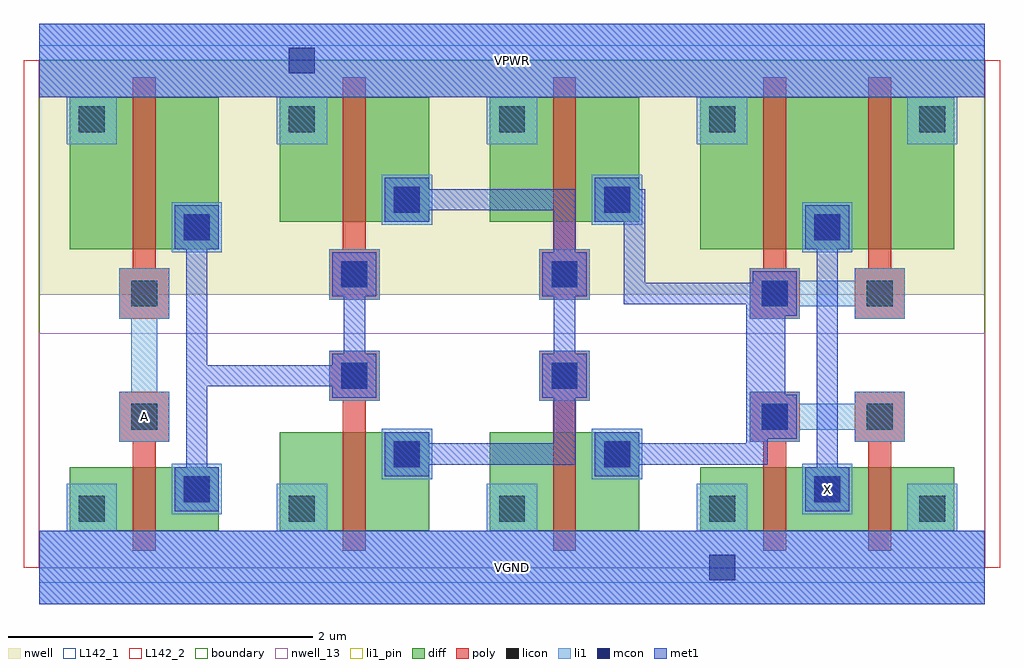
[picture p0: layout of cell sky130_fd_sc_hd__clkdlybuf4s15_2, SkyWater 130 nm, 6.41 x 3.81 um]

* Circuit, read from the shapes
.subckt sky130_fd_sc_hd__clkdlybuf4s15_2 A VGND VPWR X
XM1 n1 A VGND VSUBS sky130_fd_pr__nfet_01v8 w=0.42 l=0.15
XM2 n2 n1 VGND VSUBS sky130_fd_pr__nfet_01v8 w=0.65 l=0.15
XM3 n3 n2 VGND VSUBS sky130_fd_pr__nfet_01v8 w=0.65 l=0.15
XM4 X n3 VGND VSUBS sky130_fd_pr__nfet_01v8 w=0.42 l=0.15 m=2
XM5 n1 A VPWR n4 sky130_fd_pr__pfet_01v8 w=1 l=0.15
XM6 n2 n1 VPWR n4 sky130_fd_pr__pfet_01v8 w=0.82 l=0.15
XM7 n3 n2 VPWR n4 sky130_fd_pr__pfet_01v8 w=0.82 l=0.15
XM8 X n3 VPWR n4 sky130_fd_pr__pfet_01v8 w=1 l=0.15 m=2
.ends

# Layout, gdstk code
import gdstk
lib = gdstk.Library(unit=1e-6, precision=1e-09)
def R(c, l, rs):  # rectangles x0, y0, x1, y1
    for r in rs: c.add(gdstk.rectangle(r[:2], r[2:], *l))
def A(c, l, x, y, w, h, nx, ny, dx, dy):  # array of equal rectangles
    R(c, l, [(x+i*dx, y+j*dy, x+i*dx+w, y+j*dy+h) for i in range(nx) for j in range(ny)])
def P(c, l, *ps):  # polygons
    for p in ps: c.add(gdstk.Polygon(p, *l))
nwell_13 = (64, 13)
nwell = (64, 20)
diff = (65, 20)
poly = (66, 20)
licon = (66, 44)
li1_pin = (67, 16)
li1 = (67, 20)
mcon = (67, 44)
met1 = (68, 20)
L142_1 = (142, 1)
L142_2 = (142, 2)
boundary = (235, 4)

sky130_fd_sc_hd__clkdlyb = lib.new_cell('sky130_fd_sc_hd__clkdlybuf4s15_2')
R(sky130_fd_sc_hd__clkdlyb, nwell_13, [(0,0,6.21,1.54)])
R(sky130_fd_sc_hd__clkdlyb, nwell, [(0,1.79,6.21,3.33)])
R(sky130_fd_sc_hd__clkdlyb, diff, [(0.2,0.24,1.18,0.66), (0.2,0.24,0.615,0.66), (0.615,0.24,1.18,0.66), (1.58,0.24,2.56,0.89), (1.58,0.24,1.995,0.89), (1.995,0.24,2.56,0.89), (2.96,0.24,3.94,0.89), (2.96,0.24,3.375,0.89), (3.375,0.24,3.94,0.89), (4.34,0.24,6.01,0.66), (4.34,0.24,4.755,0.66), (4.755,0.24,5.445,0.66), (5.445,0.24,6.01,0.66), (0.2,2.09,1.18,3.09), (0.2,2.09,0.615,3.09), (0.615,2.09,1.18,3.09), (4.34,2.09,6.01,3.09), (4.34,2.09,4.755,3.09), (4.755,2.09,5.445,3.09), (5.445,2.09,6.01,3.09), (1.58,2.27,2.56,3.09), (1.58,2.27,1.995,3.09), (1.995,2.27,2.56,3.09), (2.96,2.27,3.94,3.09), (2.96,2.27,3.375,3.09), (3.375,2.27,3.94,3.09)])
P(sky130_fd_sc_hd__clkdlyb, poly, [(3.375,0.11),(3.375,1.095),(3.285,1.095),(3.285,1.425),(3.615,1.425),(3.615,1.095),(3.525,1.095),(3.525,0.11)],
  [(3.285,1.76),(3.285,2.09),(3.375,2.09),(3.375,3.22),(3.525,3.22),(3.525,2.09),(3.615,2.09),(3.615,1.76)],
  [(0.615,0.11),(0.615,0.825),(0.525,0.825),(0.525,1.155),(0.855,1.155),(0.855,0.825),(0.765,0.825),(0.765,0.11)],
  [(0.525,1.635),(0.525,1.965),(0.615,1.965),(0.615,3.22),(0.765,3.22),(0.765,1.965),(0.855,1.965),(0.855,1.635)],
  [(1.995,0.11),(1.995,1.095),(1.905,1.095),(1.905,1.425),(2.235,1.425),(2.235,1.095),(2.145,1.095),(2.145,0.11)],
  [(1.905,1.76),(1.905,2.09),(1.995,2.09),(1.995,3.22),(2.145,3.22),(2.145,2.09),(2.235,2.09),(2.235,1.76)],
  [(4.755,0.11),(4.755,0.825),(4.665,0.825),(4.665,1.155),(4.995,1.155),(4.995,0.825),(4.905,0.825),(4.905,0.11)],
  [(5.445,0.11),(5.445,0.825),(5.355,0.825),(5.355,1.155),(5.685,1.155),(5.685,0.825),(5.595,0.825),(5.595,0.11)],
  [(4.665,1.635),(4.665,1.965),(4.755,1.965),(4.755,3.22),(4.905,3.22),(4.905,1.965),(4.995,1.965),(4.995,1.635)],
  [(5.355,1.635),(5.355,1.965),(5.445,1.965),(5.445,3.22),(5.595,3.22),(5.595,1.965),(5.685,1.965),(5.685,1.635)])
A(sky130_fd_sc_hd__clkdlyb, licon, 0.26, 0.3, 0.17, 0.17, 5, 2, 1.38, 2.56)
R(sky130_fd_sc_hd__clkdlyb, licon, [(0.95,0.43,1.12,0.6), (5.09,0.43,5.26,0.6), (2.33,0.66,2.5,0.83), (3.71,0.66,3.88,0.83), (0.605,0.905,0.775,1.075), (4.745,0.905,4.915,1.075), (5.435,0.905,5.605,1.075), (1.985,1.175,2.155,1.345), (3.365,1.175,3.535,1.345), (0.605,1.715,0.775,1.885), (4.745,1.715,4.915,1.885), (5.435,1.715,5.605,1.885), (1.985,1.84,2.155,2.01), (3.365,1.84,3.535,2.01), (0.95,2.15,1.12,2.32), (5.09,2.15,5.26,2.32), (2.33,2.33,2.5,2.5), (3.71,2.33,3.88,2.5)])
R(sky130_fd_sc_hd__clkdlyb, li1_pin, [(0,-0.24,6.21,0.24), (5.01,0.35,5.34,0.68), (0,3.09,6.21,3.57)])
P(sky130_fd_sc_hd__clkdlyb, li1_pin, [(0.525,0.825),(0.525,1.155),(0.605,1.155),(0.605,1.635),(0.525,1.635),(0.525,1.965),(0.855,1.965),(0.855,1.635),(0.775,1.635),(0.775,1.155),(0.855,1.155),(0.855,0.825)])
R(sky130_fd_sc_hd__clkdlyb, li1, [(0.87,0.35,1.2,0.68), (5.01,0.35,5.34,0.68), (2.25,0.58,2.58,0.91), (3.63,0.58,3.96,0.91), (1.905,1.095,2.235,1.425), (3.285,1.095,3.615,1.425), (1.905,1.76,2.235,2.09), (3.285,1.76,3.615,2.09), (0.87,2.07,1.2,2.4), (5.01,2.07,5.34,2.4), (2.25,2.25,2.58,2.58), (3.63,2.25,3.96,2.58)])
P(sky130_fd_sc_hd__clkdlyb, li1, [(0.18,2.78),(0.18,3.09),(0,3.09),(0,3.57),(6.21,3.57),(6.21,3.09),(6.03,3.09),(6.03,2.78),(5.7,2.78),(5.7,3.09),(4.65,3.09),(4.65,2.78),(4.32,2.78),(4.32,3.09),(3.27,3.09),(3.27,2.78),(2.94,2.78),(2.94,3.09),(1.89,3.09),(1.89,2.78),(1.56,2.78),(1.56,3.09),(0.51,3.09),(0.51,2.78)],
  [(0,-0.24),(0,0.24),(0.18,0.24),(0.18,0.55),(0.51,0.55),(0.51,0.24),(1.56,0.24),(1.56,0.55),(1.89,0.55),(1.89,0.24),(2.94,0.24),(2.94,0.55),(3.27,0.55),(3.27,0.24),(4.32,0.24),(4.32,0.55),(4.65,0.55),(4.65,0.24),(5.7,0.24),(5.7,0.55),(6.03,0.55),(6.03,0.24),(6.21,0.24),(6.21,-0.24)],
  [(0.525,0.825),(0.525,1.155),(0.605,1.155),(0.605,1.635),(0.525,1.635),(0.525,1.965),(0.855,1.965),(0.855,1.635),(0.775,1.635),(0.775,1.155),(0.855,1.155),(0.855,0.825)],
  [(4.665,0.825),(4.665,1.155),(4.995,1.155),(4.995,1.075),(5.355,1.075),(5.355,1.155),(5.685,1.155),(5.685,0.825),(5.355,0.825),(5.355,0.905),(4.995,0.905),(4.995,0.825)],
  [(4.665,1.635),(4.665,1.965),(4.995,1.965),(4.995,1.885),(5.355,1.885),(5.355,1.965),(5.685,1.965),(5.685,1.635),(5.355,1.635),(5.355,1.715),(4.995,1.715),(4.995,1.635)])
R(sky130_fd_sc_hd__clkdlyb, mcon, [(4.4,-0.085,4.57,0.085), (0.95,0.43,1.12,0.6), (5.09,0.43,5.26,0.6), (2.33,0.66,2.5,0.83), (3.71,0.66,3.88,0.83), (4.745,0.905,4.915,1.075), (1.985,1.175,2.155,1.345), (3.365,1.175,3.535,1.345), (4.745,1.715,4.915,1.885), (1.985,1.84,2.155,2.01), (3.365,1.84,3.535,2.01), (0.95,2.15,1.12,2.32), (5.09,2.15,5.26,2.32), (2.33,2.33,2.5,2.5), (3.71,2.33,3.88,2.5), (1.64,3.245,1.81,3.415)])
R(sky130_fd_sc_hd__clkdlyb, met1, [(0,-0.24,6.21,0.24), (0,3.09,6.21,3.57)])
P(sky130_fd_sc_hd__clkdlyb, met1, [(2.27,0.6),(2.27,0.89),(2.56,0.89),(2.56,0.815),(3.38,0.815),(3.38,1.115),(3.305,1.115),(3.305,1.405),(3.38,1.405),(3.38,1.78),(3.305,1.78),(3.305,2.07),(3.38,2.07),(3.38,2.345),(2.56,2.345),(2.56,2.27),(2.27,2.27),(2.27,2.56),(2.56,2.56),(2.56,2.485),(3.52,2.485),(3.52,2.07),(3.595,2.07),(3.595,1.78),(3.52,1.78),(3.52,1.405),(3.595,1.405),(3.595,1.115),(3.52,1.115),(3.52,0.675),(2.56,0.675),(2.56,0.6)],
  [(0.89,0.37),(0.89,0.66),(0.965,0.66),(0.965,2.09),(0.89,2.09),(0.89,2.38),(1.18,2.38),(1.18,2.09),(1.105,2.09),(1.105,1.33),(1.925,1.33),(1.925,1.405),(2,1.405),(2,1.78),(1.925,1.78),(1.925,2.07),(2.215,2.07),(2.215,1.78),(2.14,1.78),(2.14,1.405),(2.215,1.405),(2.215,1.115),(1.925,1.115),(1.925,1.19),(1.105,1.19),(1.105,0.66),(1.18,0.66),(1.18,0.37)],
  [(5.03,0.37),(5.03,0.66),(5.105,0.66),(5.105,2.09),(5.03,2.09),(5.03,2.38),(5.32,2.38),(5.32,2.09),(5.245,2.09),(5.245,0.66),(5.32,0.66),(5.32,0.37)],
  [(3.65,0.6),(3.65,0.89),(3.94,0.89),(3.94,0.815),(4.645,0.815),(4.645,1.73),(3.84,1.73),(3.84,2.27),(3.65,2.27),(3.65,2.56),(3.94,2.56),(3.94,2.485),(3.98,2.485),(3.98,1.87),(4.685,1.87),(4.685,1.945),(4.975,1.945),(4.975,1.655),(4.9,1.655),(4.9,1.135),(4.975,1.135),(4.975,0.845),(4.785,0.845),(4.785,0.675),(3.94,0.675),(3.94,0.6)])
R(sky130_fd_sc_hd__clkdlyb, L142_1, [(0,-0.1,6.21,0), (0,3.33,6.21,3.43)])
R(sky130_fd_sc_hd__clkdlyb, L142_2, [(-0.1,0,0,3.33), (6.21,0,6.31,3.33)])
R(sky130_fd_sc_hd__clkdlyb, boundary, [(0,0,6.21,3.33)])
sky130_fd_sc_hd__clkdlyb.add(gdstk.Label('X', (5.175,0.515), layer=67, texttype=5))
sky130_fd_sc_hd__clkdlyb.add(gdstk.Label('A', (0.69,0.99), layer=67, texttype=5))
sky130_fd_sc_hd__clkdlyb.add(gdstk.Label('VGND', (3.105,0), layer=67, texttype=5))
sky130_fd_sc_hd__clkdlyb.add(gdstk.Label('VPWR', (3.105,3.33), layer=67, texttype=5))
sky130_fd_sc_hd__clkdlyb.add(gdstk.Label('VGND', (3.105,0), layer=68, texttype=5))
sky130_fd_sc_hd__clkdlyb.add(gdstk.Label('VPWR', (3.105,3.33), layer=68, texttype=5))

lib.write_gds('sky130_fd_sc_hd__clkdlybuf4s15_2.gds')
